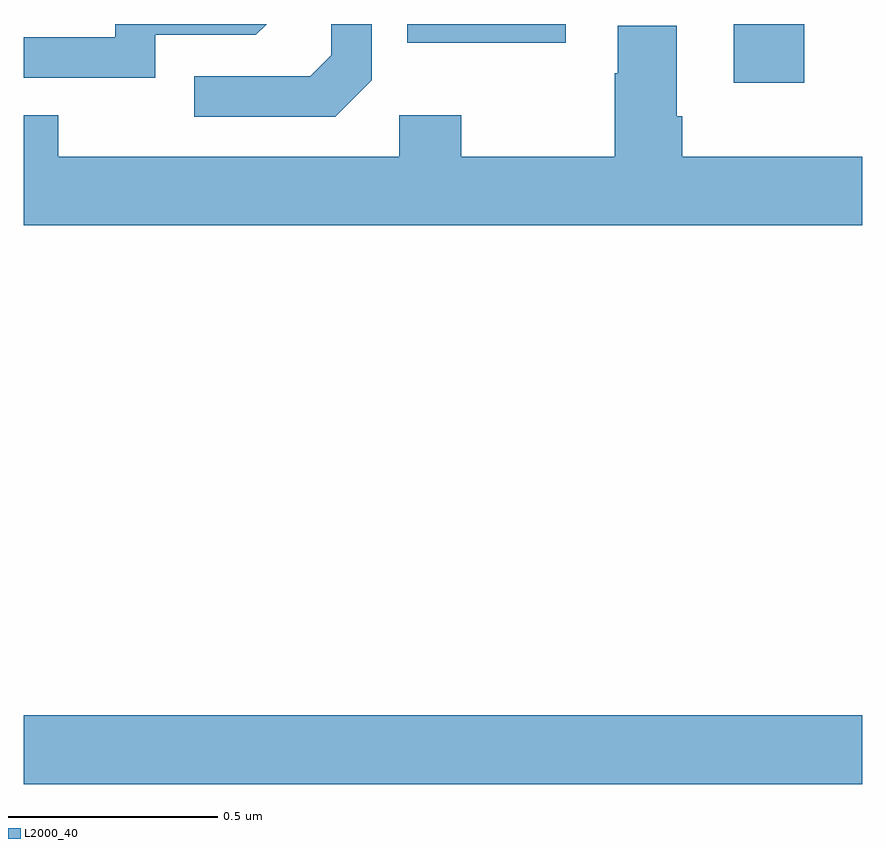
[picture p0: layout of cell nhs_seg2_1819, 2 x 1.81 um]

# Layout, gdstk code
import gdstk
lib = gdstk.Library(unit=1e-6, precision=1e-09)
def R(c, l, rs):  # rectangles x0, y0, x1, y1
    for r in rs: c.add(gdstk.rectangle(r[:2], r[2:], *l))
def P(c, l, *ps):  # polygons
    for p in ps: c.add(gdstk.Polygon(p, *l))
L2000_40 = (2000, 40)

nhs_seg2_1819 = lib.new_cell('nhs_seg2_1819')
R(nhs_seg2_1819, L2000_40, [(133,628.988,135,629.152), (134.693,630.66,134.861,630.8), (133.915,630.755,134.293,630.8)])
P(nhs_seg2_1819, L2000_40, [(133.83,630.666),(133.83,630.8),(133.734,630.8),(133.734,630.726),(133.683,630.675),(133.407,630.675),(133.407,630.579),(133.743,630.579)],
  [(133.314,630.774),(133.554,630.774),(133.58,630.8),(133.218,630.8),(133.218,630.768),(133,630.768),(133,630.672),(133.314,630.672)],
  [(135,630.484),(134.57,630.484),(134.57,630.58),(134.557,630.58),(134.557,630.796),(134.417,630.796),(134.417,630.683),(134.41,630.683),(134.41,630.484),(134.043,630.484),(134.043,630.583),(133.896,630.583),(133.896,630.484),(133.083,630.484),(133.083,630.583),(133,630.583),(133,630.32),(135,630.32)])

lib.write_gds('nhs_seg2_1819.gds')
